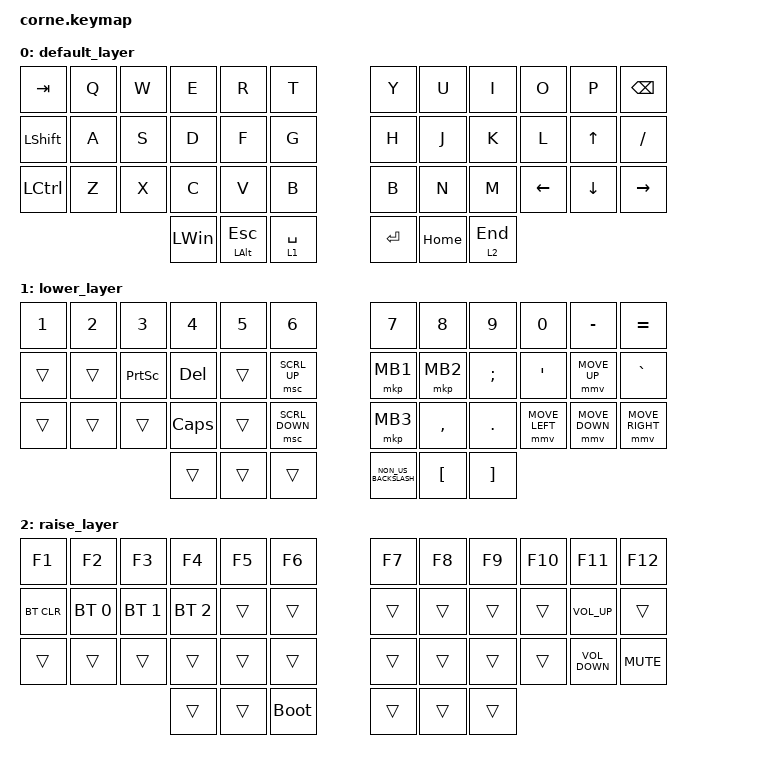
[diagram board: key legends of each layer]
/*
 * Copyright (c) 2020 The ZMK Contributors
 *
 * SPDX-License-Identifier: MIT
 */

#include <behaviors.dtsi>
#include <dt-bindings/zmk/bt.h>
#include <dt-bindings/zmk/keys.h>
#include <dt-bindings/zmk/pointing.h>

/ {
    combos { compatible = "zmk,combos"; };

    keymap {
        compatible = "zmk,keymap";

        default_layer {
            // -----------------------------------------------------------------------------------------
            // |  TAB |  Q  |  W  |  E  |  R  |  T  |   |  Y  |  U   |  I  |  O  |  P  | BKSP |
            // | CTRL |  A  |  S  |  D  |  F  |  G  |   |  H  |  J   |  K  |  L  |  ;  |  '   |
            // | SHFT |  Z  |  X  |  C  |  V  |  B  |   |  N  |  M   |  ,  |  .  |  /  | ESC  |
            //                    | GUI | LWR | SPC |   | ENT | RSE  | ALT |

            bindings = <
&kp TAB         &kp Q  &kp W  &kp E         &kp R         &kp T          &kp Y      &kp U     &kp I      &kp O     &kp P     &kp BSPC
&kp LEFT_SHIFT  &kp A  &kp S  &kp D         &kp F         &kp G          &kp H      &kp J     &kp K      &kp L     &kp UP    &kp FSLH
&kp LCTRL       &kp Z  &kp X  &kp C         &kp V         &kp B          &kp B      &kp N     &kp M      &kp LEFT  &kp DOWN  &kp RIGHT
                              &kp LEFT_WIN  &mt LALT ESC  &lt 1 SPACE    &kp ENTER  &kp HOME  &lt 2 END
            >;
        };

        lower_layer {
            // -----------------------------------------------------------------------------------------
            // |  TAB |  1  |  2  |  3  |  4  |  5  |   |  6  |  7  |  8  |  9  |  0  | BKSP |
            // | BTCLR| BT1 | BT2 | BT3 | BT4 | BT5 |   | LFT | DWN |  UP | RGT |     |      |
            // | SHFT |     |     |     |     |     |   |     |     |     |     |     |      |
            //                    | GUI |     | SPC |   | ENT |     | ALT |

            bindings = <
&kp N1  &kp N2  &kp N3           &kp N4      &kp N5  &kp N6            &kp N7                &kp N8            &kp N9             &kp N0          &kp MINUS       &kp EQUAL
&trans  &trans  &kp PRINTSCREEN  &kp DELETE  &trans  &msc SCRL_UP      &mkp MB1              &mkp MB2          &kp SEMI           &kp APOS        &mmv MOVE_UP    &kp GRAVE
&trans  &trans  &trans           &kp CAPS    &trans  &msc SCRL_DOWN    &mkp MB3              &kp COMMA         &kp DOT            &mmv MOVE_LEFT  &mmv MOVE_DOWN  &mmv MOVE_RIGHT
                                 &trans      &trans  &trans            &kp NON_US_BACKSLASH  &kp LEFT_BRACKET  &kp RIGHT_BRACKET
            >;
        };

        raise_layer {
            // -----------------------------------------------------------------------------------------
            // |  TAB |  !  |  @  |  #  |  $  |  %  |   |  ^  |  &  |  *  |  (  |  )  | BKSP |
            // | CTRL |     |     |     |     |     |   |  -  |  =  |  [  |  ]  |  \  |  `   |
            // | SHFT |     |     |     |     |     |   |  _  |  +  |  {  |  }  | "|" |  ~   |
            //                    | GUI |     | SPC |   | ENT |     | ALT |

            bindings = <
&kp F1      &kp F2        &kp F3        &kp F4        &kp F5  &kp F6         &kp F7  &kp F8  &kp F9  &kp F10  &kp F11            &kp F12
&bt BT_CLR  &bt BT_SEL 0  &bt BT_SEL 1  &bt BT_SEL 2  &trans  &trans         &trans  &trans  &trans  &trans   &kp C_VOLUME_UP    &trans
&trans      &trans        &trans        &trans        &trans  &trans         &trans  &trans  &trans  &trans   &kp C_VOLUME_DOWN  &kp C_MUTE
                                        &trans        &trans  &bootloader    &trans  &trans  &trans
            >;
        };
    };
};
